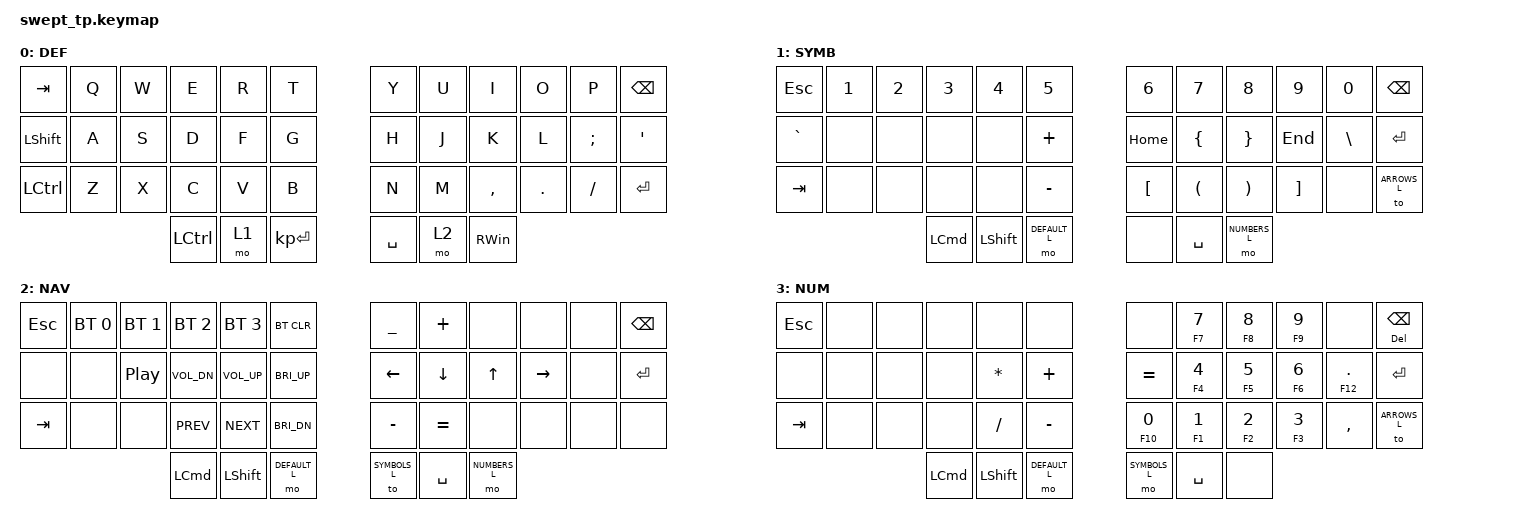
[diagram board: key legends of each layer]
/*
 * Copyright (c) 2020 The ZMK Contributors
 *
 * SPDX-License-Identifier: MIT
 */

#include <behaviors.dtsi>
#include <dt-bindings/zmk/bt.h>
#include <dt-bindings/zmk/keys.h>


#define DEFAULT_L 0
#define SYMBOLS_L 1
#define ARROWS_L  2
#define NUMBERS_L 3


/ {
	/* assign `input-listener` to all pointing devices */
	/* &glidepoint0 on central, &glidepoint1 on peripheral */
    tpad_central_listener {
        compatible = "zmk,input-behavior-listener";
        device = <&glidepoint0>;
        y-invert;
        scale-multiplier = <2>;
        // xy-swap;
        // x-invert;
	};

    tpad_peripheral_listener {
        compatible = "zmk,input-behavior-listener";
        device = <&glidepoint1>;
        layers = <DEFAULT_L ARROWS_L NUMBERS_L>;
        y-invert;
        scale-multiplier = <2>;
        /* NOTE: do NOT override event code here, */
        /*       let Cirque glidepoint reports click from taps */
        // evt-type = <INPUT_EV_REL>;
        // x-input-code = <INPUT_REL_X>;
        // y-input-code = <INPUT_REL_Y>;
    };

    tpad_peripheral_scroll {
        compatible = "zmk,input-behavior-listener";
        device = <&glidepoint1>;
        layers = <SYMBOLS_L>;
        /* NOTE: only apply input-code overriding for INPUT_EV_REL */
        evt-type = <INPUT_EV_REL>;
        x-input-code = <INPUT_REL_HWHEEL>;
        y-input-code = <INPUT_REL_WHEEL>;
        bindings = <&ib_wheel_scaler 1 8>;
    };

    ib_wheel_scaler: ib_wheel_scaler {
            compatible = "zmk,input-behavior-scaler";
            #binding-cells = <2>;
            evt-type = <INPUT_EV_REL>;
            input-code = <INPUT_REL_WHEEL>;
    };
};

/ {
    behaviors {
        hm: homerow_mods {
            compatible = "zmk,behavior-hold-tap";
            label = "HOMEROW_MODS";
            #binding-cells = <2>;
            tapping-term-ms = <300>;
            quick-tap-ms = <200>;
            flavor = "tap-preferred";
            bindings = <&kp>, <&kp>;
        };
    };

    keymap {
        compatible = "zmk,keymap";

        default_layer {
            label = "DEF";
            bindings = <
&kp TAB         &kp Q  &kp W  &kp E      &kp R  &kp T           &kp Y      &kp U  &kp I          &kp O    &kp P          &kp BSPC
&kp LEFT_SHIFT  &kp A  &kp S  &kp D      &kp F  &kp G           &kp H      &kp J  &kp K          &kp L    &kp SEMICOLON  &kp SQT
&kp LCTRL       &kp Z  &kp X  &kp C      &kp V  &kp B           &kp N      &kp M  &kp COMMA      &kp DOT  &kp SLASH      &kp ENTER
                              &kp LCTRL  &mo 1  &kp KP_ENTER    &kp SPACE  &mo 2  &kp RIGHT_WIN
            >;
        };

        symbols_layer {
            label = "SYMB";
            bindings = <
&kp ESC    &kp NUMBER_1  &kp NUMBER_2  &kp NUMBER_3  &kp NUMBER_4  &kp N5           &kp NUMBER_6  &kp NUMBER_7  &kp NUMBER_8   &kp NUMBER_9  &kp NUMBER_0  &kp BSPC
&kp GRAVE  &none         &none         &none         &none         &kp PLUS         &kp HOME      &kp LBRC      &kp RBRC       &kp END       &kp BSLH      &kp RET
&kp TAB    &none         &none         &none         &none         &kp MINUS        &kp LBKT      &kp LPAR      &kp RPAR       &kp RBKT      &none         &to ARROWS_L
                                       &kp LCMD      &kp LSHFT     &mo DEFAULT_L    &none         &kp SPACE     &mo NUMBERS_L
            >;
        };

        arrows_layer {
            label = "NAV";
            bindings = <
&kp ESC  &bt BT_SEL 0  &bt BT_SEL 1  &bt BT_SEL 2  &bt BT_SEL 3  &bt BT_CLR       &kp UNDERSCORE  &kp PLUS   &none          &none      &none  &kp BSPC
&none    &none         &kp C_PP      &kp C_VOL_DN  &kp C_VOL_UP  &kp C_BRI_UP     &kp LEFT        &kp DOWN   &kp UP         &kp RIGHT  &none  &kp RET
&kp TAB  &none         &none         &kp C_PREV    &kp C_NEXT    &kp C_BRI_DN     &kp MINUS       &kp EQUAL  &none          &none      &none  &none
                                     &kp LCMD      &kp LSHFT     &mo DEFAULT_L    &to SYMBOLS_L   &kp SPACE  &mo NUMBERS_L
            >;
        };

        numbers_layer {
            label = "NUM";
            bindings = <
&kp ESC  &none  &none  &none     &none      &none            &none          &hm F7 N7  &hm F8 N8  &hm F9 N9  &none        &hm DEL BSPC
&none    &none  &none  &none     &kp STAR   &kp PLUS         &kp EQUAL      &hm F4 N4  &hm F5 N5  &hm F6 N6  &hm F12 DOT  &kp RET
&kp TAB  &none  &none  &none     &kp FSLH   &kp MINUS        &hm F10 N0     &hm F1 N1  &hm F2 N2  &hm F3 N3  &kp COMMA    &to ARROWS_L
                       &kp LCMD  &kp LSHFT  &mo DEFAULT_L    &mo SYMBOLS_L  &kp SPACE  &none
            >;
        };
    };
};
